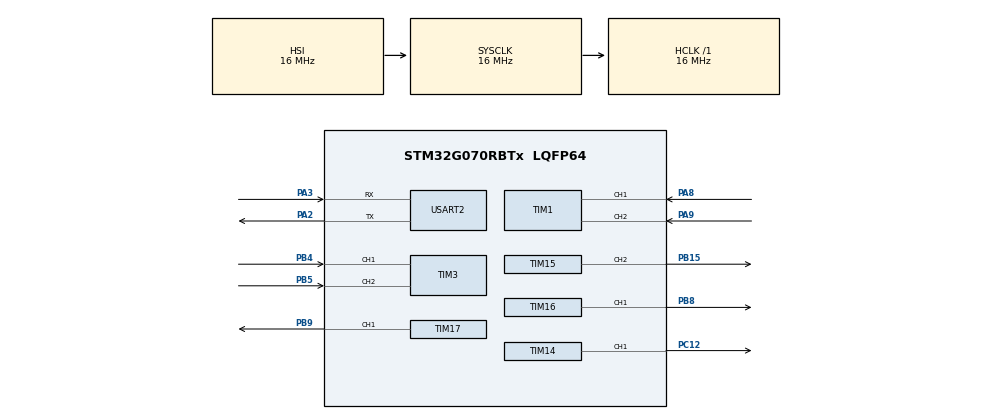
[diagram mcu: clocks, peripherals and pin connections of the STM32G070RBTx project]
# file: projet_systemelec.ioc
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Mcu.Family=STM32G0
Mcu.Name=STM32G070RBTx
Mcu.Package=LQFP64
NVIC.TIM7_IRQn=true\:0\:0\:false\:false\:true\:true\:true\:true
NVIC.USART2_IRQn=true\:0\:0\:false\:false\:true\:true\:true\:true
PA2.Mode=Asynchronous
PA2.Signal=USART2_TX
PA3.Mode=Asynchronous
PA3.Signal=USART2_RX
PA8.Signal=S_TIM1_CH1
PA9.Signal=S_TIM1_CH2
PB15.Signal=S_TIM15_CH2
PB4.Signal=S_TIM3_CH1
PB5.Signal=S_TIM3_CH2
PB8.Signal=S_TIM16_CH1
PB9.Signal=S_TIM17_CH1
PC12.Signal=S_TIM14_CH1
PC14-OSC32_IN\ (PC14).Mode=LSE-External-Oscillator
PC14-OSC32_IN\ (PC14).Signal=RCC_OSC32_IN
PC15-OSC32_OUT\ (PC15).Mode=LSE-External-Oscillator
PC15-OSC32_OUT\ (PC15).Signal=RCC_OSC32_OUT
PF0-OSC_IN\ (PF0).Mode=HSE-External-Oscillator
PF0-OSC_IN\ (PF0).Signal=RCC_OSC_IN
PF1-OSC_OUT\ (PF1).Mode=HSE-External-Oscillator
PF1-OSC_OUT\ (PF1).Signal=RCC_OSC_OUT
ProjectManager.HeapSize=0x200
ProjectManager.StackSize=0x400
ProjectManager.TargetToolchain=STM32CubeIDE
RCC.AHBFreq_Value=16000000
RCC.CortexFreq_Value=16000000
RCC.EXTERNAL_CLOCK_VALUE=48000
RCC.HCLKFreq_Value=16000000
RCC.HSE_VALUE=8000000
RCC.HSI_VALUE=16000000
RCC.SYSCLKFreq_VALUE=16000000
RCC.VCOOutputFreq_Value=128000000
SH.S_TIM14_CH1.0=TIM14_CH1,PWM Generation1 CH1
SH.S_TIM15_CH2.0=TIM15_CH2,PWM Generation2 CH2
SH.S_TIM16_CH1.0=TIM16_CH1,PWM Generation1 CH1
SH.S_TIM17_CH1.0=TIM17_CH1,PWM Generation1 CH1
SH.S_TIM1_CH1.0=TIM1_CH1,Encoder_Interface
SH.S_TIM1_CH2.0=TIM1_CH2,Encoder_Interface
SH.S_TIM3_CH1.0=TIM3_CH1,Encoder_Interface
SH.S_TIM3_CH2.0=TIM3_CH2,Encoder_Interface
TIM1.EncoderMode=TIM_ENCODERMODE_TI12
TIM14.Channel=TIM_CHANNEL_1
TIM14.Period=640-1
TIM15.Channel-PWM\ Generation2\ CH2=TIM_CHANNEL_2
TIM15.Period=640-1
TIM16.Channel=TIM_CHANNEL_1
TIM16.Period=640-1
TIM17.Channel=TIM_CHANNEL_1
TIM17.Period=640-1
TIM3.EncoderMode=TIM_ENCODERMODE_TI12
TIM7.Period=10000-1
TIM7.Prescaler=1600-1
USART2.VirtualMode-Asynchronous=VM_ASYNC
VP_TIM14_VS_ClockSourceINT.Mode=Enable_Timer
VP_TIM15_VS_ClockSourceINT.Mode=Internal
VP_TIM16_VS_ClockSourceINT.Mode=Enable_Timer
VP_TIM17_VS_ClockSourceINT.Mode=Enable_Timer
VP_TIM7_VS_ClockSourceINT.Mode=Enable_Timer
board=custom

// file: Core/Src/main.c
/* USER CODE BEGIN Header */
/**
  ******************************************************************************
  * @file           : main.c
  * @brief          : Main program body
  ******************************************************************************
  * @attention
  *
  * Copyright (c) 2023 STMicroelectronics.
  * All rights reserved.
  *
  * This software is licensed under terms that can be found in the LICENSE file
  * in the root directory of this software component.
  * If no LICENSE file comes with this software, it is provided AS-IS.
  *
  ******************************************************************************
  */
/* USER CODE END Header */
#include "main.h"
#include "tim.h"
#include "usart.h"
#include "gpio.h"

/* USER CODE BEGIN Includes */
#include "shell.h"
#include <string.h>
#include <stdio.h>
#include "dcMotor.h"
/* USER CODE END Includes */

void SystemClock_Config(void);

/* USER CODE BEGIN 0 */
#ifdef __GNUC__									//串口重定�??????
#define PUTCHAR_PROTOTYPE int __io_putchar(int ch)
#else
#define PUTCHAR_PROTOTYPE int fputc(int ch, FILE *f)
#endif
PUTCHAR_PROTOTYPE
{
    HAL_UART_Transmit(&huart2 , (uint8_t *)&ch, 1, 0xFFFF);
    return ch;
}
/* USER CODE END 0 */

int main(void)
{

  /* MCU Configuration--------------------------------------------------------*/

  /* Reset of all peripherals, Initializes the Flash interface and the Systick. */
  HAL_Init();

  /* Configure the system clock */
  SystemClock_Config();

  /* Initialize all configured peripherals */
  MX_GPIO_Init();
  MX_TIM17_Init();
  MX_TIM14_Init();
  MX_TIM15_Init();
  MX_TIM16_Init();
  MX_TIM1_Init();
  MX_TIM3_Init();
  MX_USART2_UART_Init();
  MX_TIM7_Init();
  /* USER CODE BEGIN 2 */
  Shell_Init();
  PIDInit();
  dcMotorInit();
  HAL_TIM_Base_Start_IT(&htim1);
  HAL_TIM_Base_Start_IT(&htim3);
  HAL_TIM_Base_Start_IT(&htim7);
  HAL_TIM_Encoder_Start(&htim3, TIM_CHANNEL_ALL);
  HAL_TIM_Encoder_Start(&htim1, TIM_CHANNEL_ALL);

  /* USER CODE END 2 */

  /* Infinite loop */
  while (1)
  {

    /* USER CODE BEGIN 3 */
	Shell_Loop();

  }
  /* USER CODE END 3 */
}

void SystemClock_Config(void)
{
  RCC_OscInitTypeDef RCC_OscInitStruct = {0};
  RCC_ClkInitTypeDef RCC_ClkInitStruct = {0};

  /** Configure the main internal regulator output voltage
  */
  HAL_PWREx_ControlVoltageScaling(PWR_REGULATOR_VOLTAGE_SCALE1);

  /** Initializes the RCC Oscillators according to the specified parameters
  * in the RCC_OscInitTypeDef structure.
  */
  RCC_OscInitStruct.OscillatorType = RCC_OSCILLATORTYPE_HSI;
  RCC_OscInitStruct.HSIState = RCC_HSI_ON;
  RCC_OscInitStruct.HSIDiv = RCC_HSI_DIV1;
  RCC_OscInitStruct.HSICalibrationValue = RCC_HSICALIBRATION_DEFAULT;
  RCC_OscInitStruct.PLL.PLLState = RCC_PLL_NONE;
  if (HAL_RCC_OscConfig(&RCC_OscInitStruct) != HAL_OK)
  {
    Error_Handler();
  }

  /** Initializes the CPU, AHB and APB buses clocks
  */
  RCC_ClkInitStruct.ClockType = RCC_CLOCKTYPE_HCLK|RCC_CLOCKTYPE_SYSCLK
                              |RCC_CLOCKTYPE_PCLK1;
  RCC_ClkInitStruct.SYSCLKSource = RCC_SYSCLKSOURCE_HSI;
  RCC_ClkInitStruct.AHBCLKDivider = RCC_SYSCLK_DIV1;
  RCC_ClkInitStruct.APB1CLKDivider = RCC_HCLK_DIV1;

  if (HAL_RCC_ClockConfig(&RCC_ClkInitStruct, FLASH_LATENCY_0) != HAL_OK)
  {
    Error_Handler();
  }
}

void Error_Handler(void)
{
  __disable_irq();
  while (1)
  {
  }
}
